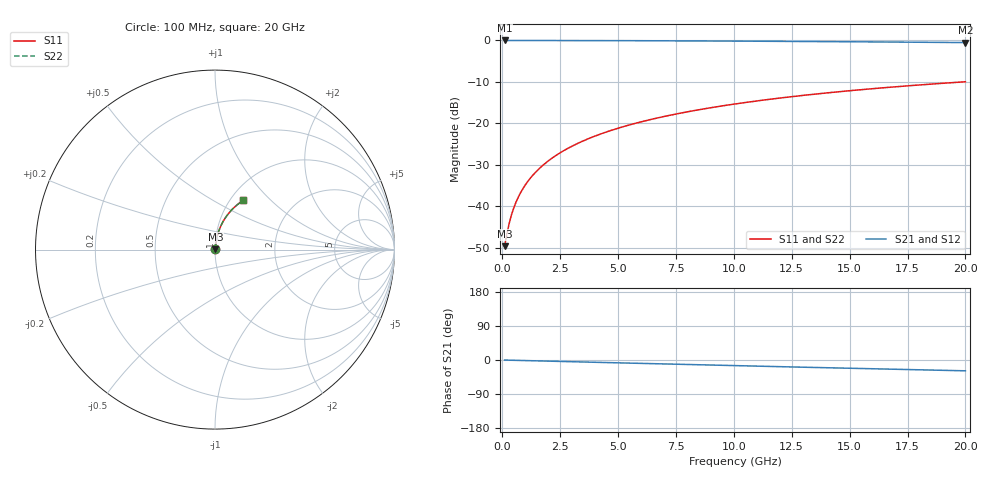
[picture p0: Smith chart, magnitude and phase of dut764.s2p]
! Touchstone file exported from HFSS 2026.1.0
!  File:  C:/ffzhzh/LocalFiles/Ansys_Project_Files/temp_train_BSMRDL_764_1783169068_43440.aedt
!  Generated:  08:45:47 PM Jul  4, 2026
!  Design:  BSMRDL
!  Project:  temp_train_BSMRDL_764_1783169068_43440
! Variables:
!  h_bsmrdl = 2.76um
!  h_ox = 20um
!  h_rdl = 5um
!  h_sub = 80um
!  h_tmrdl = 5um
!  h_tsv = 80um
!  h_via = 3um
!  l_bsmrdl = 352.88um
!  l_sub = 752.88um
!  l_tmrdl = 200um
!  m_sub = 200um
!  pitch = 49.64um
!  r_tsv = 6um
!  s_tmrdl = 10um
!  w_bsmrdl = 18.32um
!  w_sub = 500um
!  w_tmrdl = 12um
!  x_tsv_center1 = 206um
!  x_tsv_center2 = 577.2um
!  x_tsv_center3 = 789.2um
!  x_tsv_center4 = 1160.4um
!  x_tsv_center5 = 1372.4um
!  x_tsv_center6 = 1743.6um
# GHz S MA R 50.000000
! Terminal data exported
! Port[1] = BSM_RDL1_1_T1
! Port[2] = BSM_RDL1_1_T2
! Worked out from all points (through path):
!   200 points, 100 MHz to 20 GHz, reference 50 ohm
!   highest |S21| = -0.02 dB at 100 MHz (marker M1); lowest = -0.5 dB at 20 GHz (marker M2)
!   group delay of S21, straight-line fit = 3.97 ps
!   lowest |S11| = -49.6 dB at 100 MHz (marker M3), VSWR 1.01, Z = 50.3 + j0.188 ohm
!   |S11| at or under -10 dB: start of sweep to 19.97 GHz
!   |S22| runs from -49.6 to -10.0 dB; largest |S21 - S12| = 3.5e-15
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0.1  0.003294 34.5  0.9973 -0.2  0.9973 -0.2  0.003294 34.5
! Gamma 0 0 0 0
! Port Impedance 50 0 50 0
0.2  0.004644 53.2  0.9972 -0.3  0.9972 -0.3  0.004644 53.2
0.3  0.006241 62.5  0.9971 -0.5  0.9971 -0.5  0.006241 62.5
0.4  0.007913 67.7  0.9971 -0.6  0.9971 -0.6  0.007913 67.7
0.5  0.009607 71.0  0.997 -0.8  0.997 -0.8  0.009607 71.0
0.6  0.01131 73.4  0.9969 -0.9  0.9969 -0.9  0.01131 73.4
0.8  0.01472 76.3  0.9967 -1.2  0.9967 -1.2  0.01472 76.3
1.1  0.01986 78.8  0.9965 -1.7  0.9965 -1.7  0.01986 78.8
1.3  0.02331 79.8  0.9964 -2.0  0.9964 -2.0  0.02331 79.8
1.6  0.02849 80.7  0.9962 -2.4  0.9962 -2.4  0.02849 80.7
2.1  0.03715 81.5  0.9958 -3.2  0.9958 -3.2  0.03715 81.5
2.7  0.04755 81.6  0.9953 -4.1  0.9953 -4.1  0.04755 81.6
3.5  0.06139 81.2  0.9944 -5.3  0.9944 -5.3  0.06139 81.2
4.2  0.07346 80.7  0.9934 -6.3  0.9934 -6.3  0.07346 80.7
5  0.08716 79.8  0.9921 -7.5  0.9921 -7.5  0.08716 79.8
5.9  0.1025 78.7  0.9904 -8.8  0.9904 -8.8  0.1025 78.7
6.8  0.1176 77.6  0.9884 -10.1  0.9884 -10.1  0.1176 77.6
8.3  0.1425 75.6  0.9847 -12.3  0.9847 -12.3  0.1425 75.6
10.1  0.1717 73.2  0.9795 -14.9  0.9795 -14.9  0.1717 73.2
13.4  0.2231 68.7  0.9682 -19.6  0.9682 -19.6  0.2231 68.7
16.7  0.2715 64.3  0.955 -24.1  0.955 -24.1  0.2715 64.3
20  0.3167 60.0  0.9405 -28.5  0.9405 -28.5  0.3167 60.0
